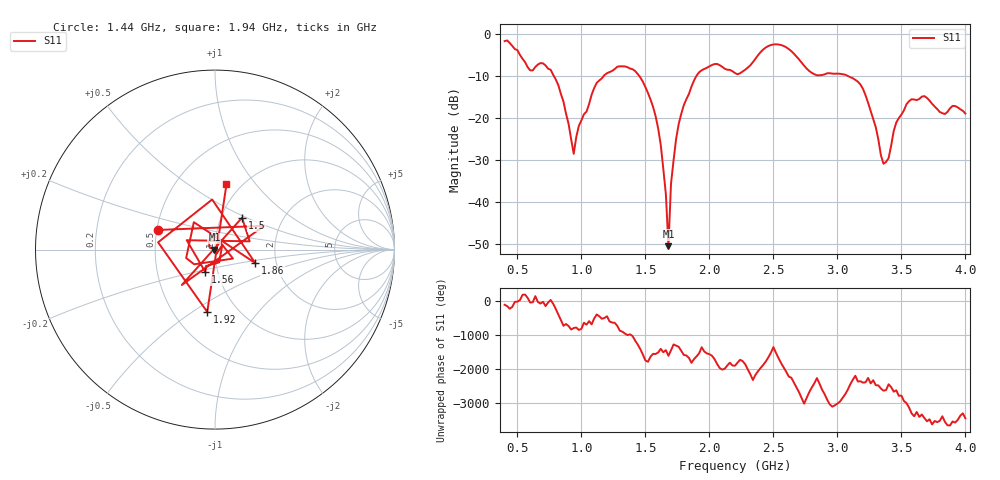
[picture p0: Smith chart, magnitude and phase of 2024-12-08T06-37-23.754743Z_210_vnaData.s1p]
!Created with skrf (http://scikit-rf.org).
# Hz S RI R 50.0
!freq ReS11 ImS11
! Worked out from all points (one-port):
!   181 points, 400 MHz to 4 GHz, reference 50 ohm
!   lowest |S11| = -50.5 dB at 1.68 GHz (marker M1), VSWR 1.01, Z = 49.7 - j0.0394 ohm
!   |S11| at or under -10 dB: 784.6 MHz to 1.175 GHz (390 MHz wide, 39.8 % of centre); 1.452 GHz to 1.898 GHz (446.7 MHz wide, 26.7 % of centre); 3.08 GHz to end of sweep
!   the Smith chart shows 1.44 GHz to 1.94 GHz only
!   S11 on the Smith chart (normalised r, x): 1.44 GHz: 0.51, +0.13; 1.5 GHz: 1.26, +0.47; 1.56 GHz: 0.87, -0.22; 1.86 GHz: 1.55, -0.25; 1.92 GHz: 0.73, -0.57; 1.94 GHz: 0.86, +0.72
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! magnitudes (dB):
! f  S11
! 400 MHz  -1.7
! 600 MHz  -8.7
! 760 MHz  -8.5
! 860 MHz  -16.1
! 940 MHz  -28.5
! 980 MHz  -21.9
! 1.12 GHz  -11.6
! 1.3 GHz  -7.7
! 1.44 GHz  -9.5
! 1.5 GHz  -12.7
! 1.56 GHz  -17.4
! 1.62 GHz  -26.4
! 1.66 GHz  -38.2
! 1.68 GHz  -50.5
! 1.7 GHz  -35.7
! 1.76 GHz  -21.5
! 1.86 GHz  -12.5
! 1.92 GHz  -9.1
! 1.94 GHz  -8.6
! 2.2 GHz  -9.3
! 2.48 GHz  -2.6
! 2.66 GHz  -4.7
! 2.82 GHz  -9.6
! 3.1 GHz  -10.3
! 3.22 GHz  -14.6
! 3.36 GHz  -30.9
! 3.56 GHz  -16.0
! 4 GHz  -18.9
